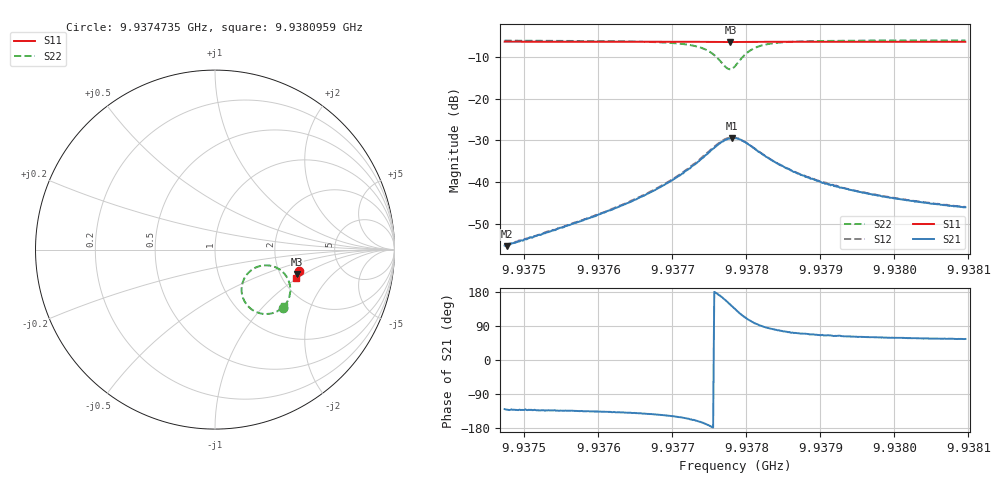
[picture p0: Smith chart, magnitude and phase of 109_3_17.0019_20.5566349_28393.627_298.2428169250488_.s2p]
#  HZ  S  RI  R  50.00
! Rohde & Schwarz Vector Network Analyzer
! Rohde-Schwarz,ZNB20-2Port,1311601062101988,3.16
! Created: UTC 3/20/2024, 10:56:58 PM
! freq[Hz]  re:S11  im:S11  re:S21  im:S21  re:S12  im:S12  re:S22  im:S22
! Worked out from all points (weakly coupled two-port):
!   401 points, 9.9374735 GHz to 9.9380959 GHz, reference 50 ohm
!   highest |S21| = -29.41 dB at 9.93778 GHz (marker M1); lowest = -55.3 dB at 9.9374766 GHz (marker M2)
!   lowest |S11| = -6.4 dB at 9.9377785 GHz (marker M3), VSWR 2.83, Z = 124 - j43.5 ohm
!   |S11| at or under -10 dB: nowhere
!   |S22| runs from -12.9 to -6.0 dB; largest |S21 - S12| = 0.0018
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9.93747348e9  0.4681 -0.1176  -0.00112 -0.00134  -0.00116 -0.00129  0.3761 -0.3237
9.93747659e9  0.468 -0.1178  -0.00112 -0.00129  -0.00119 -0.00134  0.3757 -0.3241
9.93757774e9  0.4658 -0.1246  -0.00242 -0.00247  -0.00252 -0.00246  0.3593 -0.3362
9.93763843e9  0.4643 -0.1289  -0.00422 -0.00366  -0.00431 -0.00365  0.3405 -0.3465
9.937682e9  0.463 -0.132  -0.00697 -0.00498  -0.00721 -0.00494  0.3144 -0.3555
9.93771156e9  0.4618 -0.134  -0.0108 -0.00595  -0.0112 -0.00585  0.2801 -0.3589
9.93774113e9  0.4601 -0.136  -0.0189 -0.00493  -0.0197 -0.00442  0.2138 -0.3394
9.93775358e9  0.4592 -0.1365  -0.0245 -0.00128  -0.0251 -0.000655  0.1746 -0.3036
9.93776447e9  0.4582 -0.1366  -0.0288 0.00518  -0.0294 0.00644  0.1493 -0.2421
9.93777225e9  0.4577 -0.1362  -0.0298 0.0125  -0.0298 0.0142  0.1545 -0.1821
9.93777848e9  0.4577 -0.1359  -0.0279 0.0188  -0.0276 0.0205  0.1803 -0.1353
9.93778003e9  0.4577 -0.1359  -0.027 0.0204  -0.0266 0.022  0.1899 -0.1252
9.9377847e9  0.458 -0.1355  -0.0238 0.0239  -0.0229 0.0255  0.2231 -0.1016
9.93779248e9  0.4585 -0.1355  -0.0167 0.0276  -0.0155 0.0284  0.2843 -0.0875
9.93780182e9  0.4591 -0.136  -0.0087 0.0275  -0.00767 0.0279  0.3447 -0.102
9.93781738e9  0.4598 -0.1372  -0.000738 0.0229  -9.63e-05 0.0232  0.3981 -0.1495
9.93784539e9  0.4598 -0.14  0.00356 0.0159  0.00378 0.0156  0.4196 -0.2144
9.93786562e9  0.4595 -0.1416  0.0042 0.0126  0.00452 0.0124  0.4187 -0.2412
9.93788896e9  0.4589 -0.1433  0.00422 0.0102  0.00439 0.0101  0.4147 -0.2614
9.93792786e9  0.4581 -0.1461  0.00391 0.00772  0.0041 0.00763  0.4072 -0.2817
9.93799322e9  0.4563 -0.1506  0.00338 0.00558  0.00353 0.0056  0.3969 -0.3003
9.93809593e9  0.4538 -0.1574  0.00284 0.00413  0.00293 0.00414  0.3855 -0.3162
